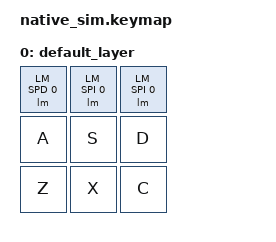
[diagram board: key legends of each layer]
#include <dt-bindings/zmk/keys.h>
#include <dt-bindings/zmk/kscan_mock.h>
#include <dt-bindings/zmk/led_matrix.h>
#include <dt-bindings/led/led.h>
#include <behaviors.dtsi>

/ {
    chosen {
        zmk,kscan = &kscan;
        zmk,led-matrix = &led_matrix;
    };

    kscan: native_posix_64_kscan_mock {
        compatible = "zmk,kscan-mock";
        rows = <3>;
        columns = <3>;
        exit-after;
        events = <
            ZMK_MOCK_PRESS(0,0,725)
            ZMK_MOCK_RELEASE(0,0,13)
            ZMK_MOCK_PRESS(0,1,725)
            ZMK_MOCK_RELEASE(0,1,13)
            ZMK_MOCK_PRESS(0,2,725)
            ZMK_MOCK_RELEASE(0,2,13)
        >;
    };

    keymap {
        compatible = "zmk,keymap";

        default_layer {
            bindings = <
                &lm LM_SPD 0 &lm LM_SPI 0 &lm LM_SPI 0
                &kp A &kp S &kp D
                &kp Z &kp X &kp C
            >;
        };
    };

    led_matrix_dev: led_matrix_dev {
        compatible = "zmk,led-mock";
        mode = "color";

        led_0 { index = <0>; color-mapping = <LED_COLOR_ID_GREEN LED_COLOR_ID_RED LED_COLOR_ID_BLUE>; };
        led_1 { index = <1>; color-mapping = <LED_COLOR_ID_GREEN LED_COLOR_ID_RED LED_COLOR_ID_BLUE>; };
        led_2 { index = <2>; color-mapping = <LED_COLOR_ID_GREEN LED_COLOR_ID_RED LED_COLOR_ID_BLUE>; };
        led_3 { index = <3>; color-mapping = <LED_COLOR_ID_GREEN LED_COLOR_ID_RED LED_COLOR_ID_BLUE>; };
        led_4 { index = <4>; color-mapping = <LED_COLOR_ID_GREEN LED_COLOR_ID_RED LED_COLOR_ID_BLUE>; };
        led_5 { index = <5>; color-mapping = <LED_COLOR_ID_GREEN LED_COLOR_ID_RED LED_COLOR_ID_BLUE>; };
        led_6 { index = <6>; color-mapping = <LED_COLOR_ID_GREEN LED_COLOR_ID_RED LED_COLOR_ID_BLUE>; };
        led_7 { index = <7>; color-mapping = <LED_COLOR_ID_GREEN LED_COLOR_ID_RED LED_COLOR_ID_BLUE>; };
        led_8 { index = <8>; color-mapping = <LED_COLOR_ID_GREEN LED_COLOR_ID_RED LED_COLOR_ID_BLUE>; };
    };

    led_matrix: led_matrix {
        compatible = "zmk,led-matrix";
        led-driver = "matrix";
        led-device = <&led_matrix_dev>;
        led-count = <9>;
        matrix-led-grid = <
            0 1 2 LM_BREAK
            3 4 5 LM_BREAK
            6 7 8
        >;

        profile0 {
            profile-id = <0>;
            display-name = "Rain Speed";
            renderer = "rain";
            colors = <0x3399FF>;
            brightness = <100>;
            period-ms = <900>;
        };
    };
};
